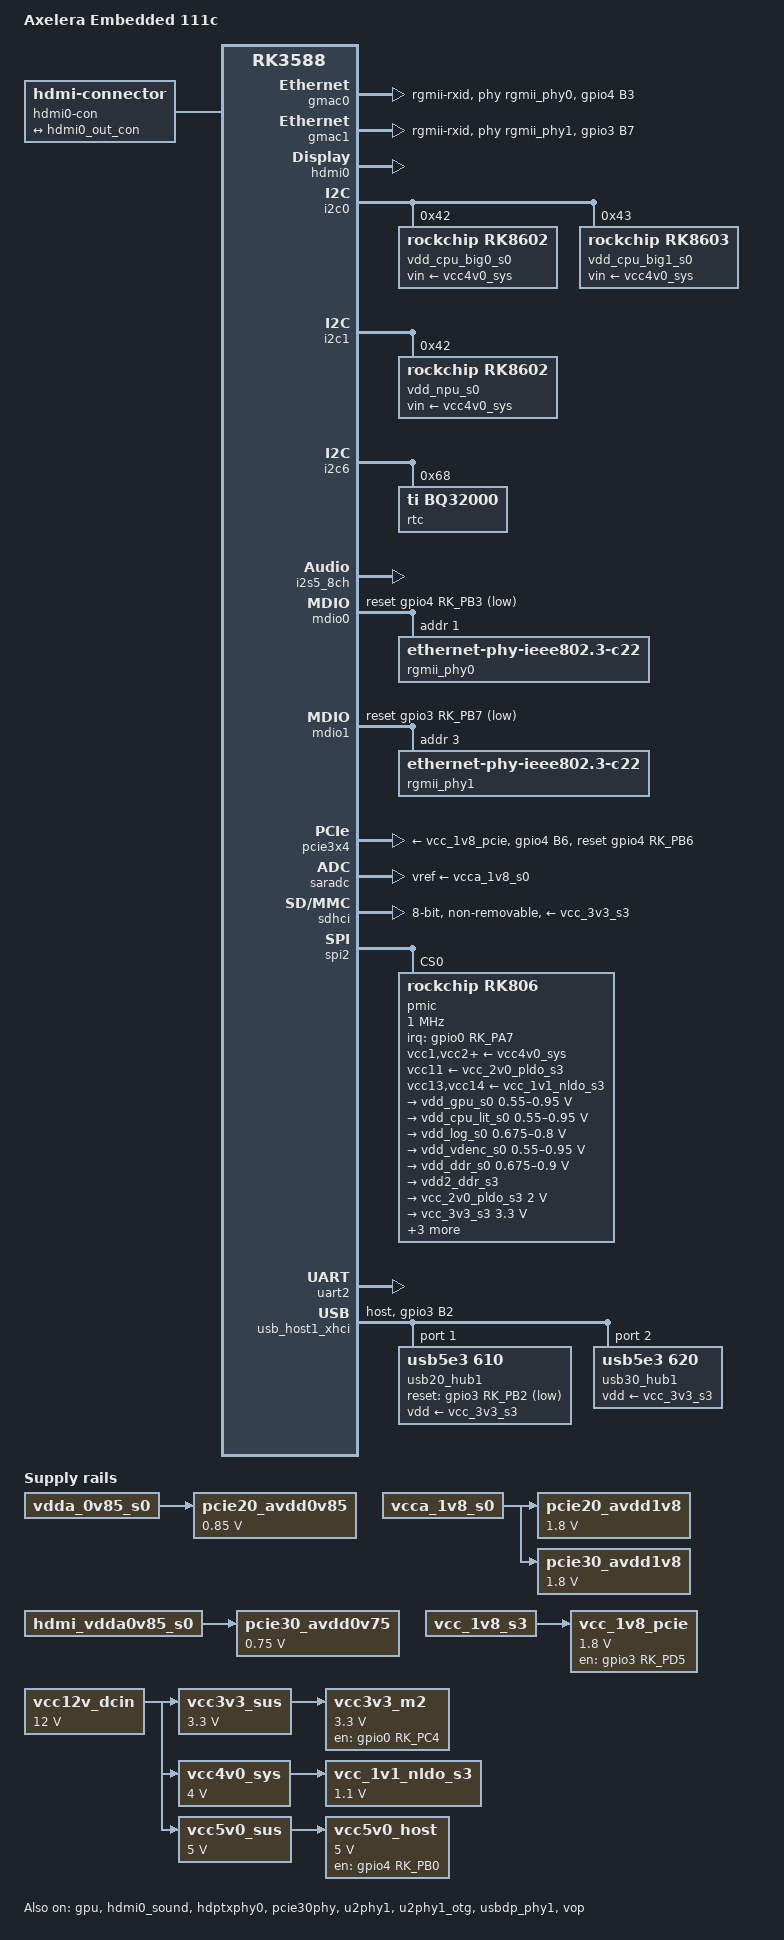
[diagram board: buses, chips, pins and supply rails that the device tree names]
// SPDX-License-Identifier: (GPL-2.0+ OR MIT)
/*
 * Copyright (c) 2026 Amarula Solutions
 */

/dts-v1/;

#include <dt-bindings/gpio/gpio.h>
#include <dt-bindings/pinctrl/rockchip.h>
#include <dt-bindings/soc/rockchip,vop2.h>
#include "rk3588.dtsi"

/ {
	model = "Axelera Embedded 111c";
	compatible = "axelera,embedded-111c", "rockchip,rk3588";

	aliases {
		ethernet0 = &gmac0;
		ethernet1 = &gmac1;
		mmc0 = &sdhci;
	};

	chosen {
		stdout-path = "serial2:1500000n8";
	};

	hdmi0-con {
		compatible = "hdmi-connector";
		type = "a";

		port {
			hdmi0_con_in: endpoint {
				remote-endpoint = <&hdmi0_out_con>;
			};
		};
	};

	pcie20_avdd0v85: regulator-pcie20-avdd0v85 {
		compatible = "regulator-fixed";
		regulator-always-on;
		regulator-boot-on;
		regulator-min-microvolt = <850000>;
		regulator-max-microvolt = <850000>;
		regulator-name = "pcie20_avdd0v85";
		vin-supply = <&vdda_0v85_s0>;
	};

	pcie20_avdd1v8: regulator-pcie20-avdd1v8 {
		compatible = "regulator-fixed";
		regulator-always-on;
		regulator-boot-on;
		regulator-min-microvolt = <1800000>;
		regulator-max-microvolt = <1800000>;
		regulator-name = "pcie20_avdd1v8";
		vin-supply = <&vcca_1v8_s0>;
	};

	pcie30_avdd0v75: regulator-pcie30-avdd0v75 {
		compatible = "regulator-fixed";
		regulator-always-on;
		regulator-boot-on;
		regulator-min-microvolt = <750000>;
		regulator-max-microvolt = <750000>;
		regulator-name = "pcie30_avdd0v75";
		vin-supply = <&hdmi_vdda0v85_s0>;
	};

	pcie30_avdd1v8: regulator-pcie30-avdd1v8 {
		compatible = "regulator-fixed";
		regulator-always-on;
		regulator-boot-on;
		regulator-min-microvolt = <1800000>;
		regulator-max-microvolt = <1800000>;
		regulator-name = "pcie30_avdd1v8";
		vin-supply = <&vcca_1v8_s0>;
	};

	vcc_1v1_nldo_s3: regulator-vcc-1v1-nldo-s3 {
		compatible = "regulator-fixed";
		regulator-always-on;
		regulator-boot-on;
		regulator-min-microvolt = <1100000>;
		regulator-max-microvolt = <1100000>;
		regulator-name = "vcc_1v1_nldo_s3";
		vin-supply = <&vcc4v0_sys>;
	};

	vcc_1v8_pcie: regulator-vcc-1v8-pcie {
		compatible = "regulator-fixed";
		enable-active-high;
		gpio = <&gpio3 RK_PD5 GPIO_ACTIVE_HIGH>; /* PCIE30_PWREN_H */
		pinctrl-0 = <&pcie30_pwren_h>;
		pinctrl-names = "default";
		regulator-always-on;
		regulator-min-microvolt = <1800000>;
		regulator-max-microvolt = <1800000>;
		regulator-name = "vcc_1v8_pcie";
		startup-delay-us = <50000>;
		vin-supply = <&vcc_1v8_s3>;
	};

	vcc12v_dcin: regulator-vcc12v-dcin {
		compatible = "regulator-fixed";
		regulator-always-on;
		regulator-boot-on;
		regulator-min-microvolt = <12000000>;
		regulator-max-microvolt = <12000000>;
		regulator-name = "12vsus";
	};

	vcc3v3_m2: regulator-vcc3v3-m2 {
		compatible = "regulator-fixed";
		enable-active-high;
		gpio = <&gpio0 RK_PC4 GPIO_ACTIVE_HIGH>; /* PCIE_PWREN_H */
		pinctrl-0 = <&pcie_pwren_h>;
		pinctrl-names = "default";
		regulator-always-on;
		regulator-boot-on;
		regulator-min-microvolt = <3300000>;
		regulator-max-microvolt = <3300000>;
		regulator-name = "3v_m2";
		vin-supply = <&vcc3v3_sus>;
	};

	vcc3v3_sus: regulator-vcc3v3-sus {
		compatible = "regulator-fixed";
		regulator-always-on;
		regulator-boot-on;
		regulator-min-microvolt = <3300000>;
		regulator-max-microvolt = <3300000>;
		regulator-name = "3vsus";
		vin-supply = <&vcc12v_dcin>;
	};

	vcc4v0_sys: regulator-vcc4v0-sys {
		compatible = "regulator-fixed";
		regulator-always-on;
		regulator-boot-on;
		regulator-min-microvolt = <4000000>;
		regulator-max-microvolt = <4000000>;
		regulator-name = "vcc4v0_sys";
		vin-supply = <&vcc12v_dcin>;
	};

	vcc5v0_host: regulator-vcc5v0-host {
		compatible = "regulator-fixed";
		enable-active-high;
		gpio = <&gpio4 RK_PB0 GPIO_ACTIVE_HIGH>; /* USB_HOST_PWREN */
		pinctrl-0 = <&usb_host_pwren>;
		pinctrl-names = "default";
		regulator-always-on;
		regulator-boot-on;
		regulator-min-microvolt = <5000000>;
		regulator-max-microvolt = <5000000>;
		regulator-name = "vcc5v0_host";
		vin-supply = <&vcc5v0_sus>;
	};

	vcc5v0_sus: regulator-vcc5v0-sus {
		compatible = "regulator-fixed";
		regulator-always-on;
		regulator-boot-on;
		regulator-min-microvolt = <5000000>;
		regulator-max-microvolt = <5000000>;
		regulator-name = "5vsus";
		vin-supply = <&vcc12v_dcin>;
	};
};

&cpu_b0 {
	cpu-supply = <&vdd_cpu_big0_s0>;
};

&cpu_b1 {
	cpu-supply = <&vdd_cpu_big0_s0>;
};

&cpu_b2 {
	cpu-supply = <&vdd_cpu_big1_s0>;
};

&cpu_b3 {
	cpu-supply = <&vdd_cpu_big1_s0>;
};

&cpu_l0 {
	cpu-supply = <&vdd_cpu_lit_s0>;
};

&cpu_l1 {
	cpu-supply = <&vdd_cpu_lit_s0>;
};

&cpu_l2 {
	cpu-supply = <&vdd_cpu_lit_s0>;
};

&cpu_l3 {
	cpu-supply = <&vdd_cpu_lit_s0>;
};

&gmac0 {
	clock_in_out = "output";
	phy-handle = <&rgmii_phy0>;
	/* RX delay is added by the PHY, TX delay by the GMAC */
	phy-mode = "rgmii-rxid";
	pinctrl-0 = <&gmac0_miim
		     &gmac0_tx_bus2
		     &gmac0_rx_bus2
		     &gmac0_rgmii_clk
		     &gmac0_rgmii_bus
		     &gmac0_rst_n>;
	pinctrl-names = "default";
	tx_delay = <0x44>;
	status = "okay";
};

&gmac1 {
	clock_in_out = "output";
	phy-handle = <&rgmii_phy1>;
	/* RX delay is added by the PHY, TX delay by the GMAC */
	phy-mode = "rgmii-rxid";
	pinctrl-0 = <&gmac1_miim
		     &gmac1_tx_bus2
		     &gmac1_rx_bus2
		     &gmac1_rgmii_clk
		     &gmac1_rgmii_bus
		     &gmac1_rst_n>;
	pinctrl-names = "default";
	tx_delay = <0x43>;
	status = "okay";
};

&gpu {
	mali-supply = <&vdd_gpu_s0>;
	status = "okay";
};

&hdmi0 {
	pinctrl-0 = <&hdmim0_tx0_cec
		     &hdmim1_tx0_hpd
		     &hdmim0_tx0_scl
		     &hdmim0_tx0_sda>;
	pinctrl-names = "default";
	status = "okay";
};

&hdmi0_in {
	hdmi0_in_vp0: endpoint {
		remote-endpoint = <&vp0_out_hdmi0>;
	};
};

&hdmi0_out {
	hdmi0_out_con: endpoint {
		remote-endpoint = <&hdmi0_con_in>;
	};
};

&hdmi0_sound {
	status = "okay";
};

&hdptxphy0 {
	status = "okay";
};

&i2c0 {
	pinctrl-0 = <&i2c0m2_xfer>;
	pinctrl-names = "default";
	status = "okay";

	vdd_cpu_big0_s0: regulator@42 {
		compatible = "rockchip,rk8602";
		reg = <0x42>;
		regulator-always-on;
		regulator-boot-on;
		regulator-min-microvolt = <550000>;
		regulator-max-microvolt = <1050000>;
		regulator-name = "vdd_cpu_big0_s0";
		regulator-ramp-delay = <2300>;
		vin-supply = <&vcc4v0_sys>;
		fcs,suspend-voltage-selector = <1>;

		regulator-state-mem {
			regulator-off-in-suspend;
		};
	};

	vdd_cpu_big1_s0: regulator@43 {
		compatible = "rockchip,rk8603", "rockchip,rk8602";
		reg = <0x43>;
		regulator-always-on;
		regulator-boot-on;
		regulator-min-microvolt = <550000>;
		regulator-max-microvolt = <1050000>;
		regulator-name = "vdd_cpu_big1_s0";
		regulator-ramp-delay = <2300>;
		vin-supply = <&vcc4v0_sys>;
		fcs,suspend-voltage-selector = <1>;

		regulator-state-mem {
			regulator-off-in-suspend;
		};
	};
};

&i2c1 {
	pinctrl-0 = <&i2c1m2_xfer>;
	pinctrl-names = "default";
	status = "okay";

	vdd_npu_s0: vdd_npu_mem_s0: regulator@42 {
		compatible = "rockchip,rk8602";
		reg = <0x42>;
		regulator-always-on;
		regulator-boot-on;
		regulator-min-microvolt = <550000>;
		regulator-max-microvolt = <950000>;
		regulator-name = "vdd_npu_s0";
		regulator-ramp-delay = <2300>;
		vin-supply = <&vcc4v0_sys>;
		fcs,suspend-voltage-selector = <1>;

		regulator-state-mem {
			regulator-off-in-suspend;
		};
	};
};

&i2c6 {
	status = "okay";

	rtc@68 {
		compatible = "ti,bq32000";
		reg = <0x68>;
	};
};

&i2s5_8ch {
	status = "okay";
};

&mdio0 {
	reset-gpios = <&gpio4 RK_PB3 GPIO_ACTIVE_LOW>; /* GMAC0_RST_N */
	reset-delay-us = <20000>;
	reset-post-delay-us = <100000>;

	rgmii_phy0: phy@1 {
		compatible = "ethernet-phy-ieee802.3-c22";
		reg = <0x1>;
	};
};

&mdio1 {
	reset-gpios = <&gpio3 RK_PB7 GPIO_ACTIVE_LOW>; /* GMAC1_RST_N */
	reset-delay-us = <20000>;
	reset-post-delay-us = <100000>;

	rgmii_phy1: phy@3 {
		compatible = "ethernet-phy-ieee802.3-c22";
		reg = <0x3>;
	};
};

&pcie30phy {
	status = "okay";
};

&pcie3x4 {
	pinctrl-0 = <&pciex4_perst_n>;
	pinctrl-names = "default";
	reset-gpios = <&gpio4 RK_PB6 GPIO_ACTIVE_HIGH>; /* PCIEX4_PERST_N */
	/*
	 * Add specific mapping required by the onboard
	 * Axelera Metis AIPU to function.
	 */
	ranges = <0x81000000 0x0 0xf0100000 0x0 0xf0100000 0x0 0x100000
		  0x82000000 0x0 0x40000000 0x9 0x00000000 0x0 0x20000000
		  0xc3000000 0x0 0x60000000 0x9 0x20000000 0x0 0x20000000>;
	/*
	 * Set to 1v8 because the electronics on the pcie3x4 slot
	 * do not receive 3v3 supply at all, but vpcie3v3-supply
	 * must be specified.
	 */
	vpcie3v3-supply = <&vcc_1v8_pcie>;
	status = "okay";
};

&pinctrl {
	gmac0 {
		gmac0_rst_n: gmac0-rst-n {
			rockchip,pins = <4 RK_PB3 RK_FUNC_GPIO &pcfg_pull_up>;
		};
	};

	gmac1 {
		gmac1_rst_n: gmac1-rst-n {
			rockchip,pins = <3 RK_PB7 RK_FUNC_GPIO &pcfg_pull_up>;
		};
	};

	pci {
		pcie_pwren_h: pcie-pwren-h {
			rockchip,pins = <0 RK_PC4 RK_FUNC_GPIO &pcfg_pull_none>;
		};

		pcie30_pwren_h: pcie30-pwren-h {
			rockchip,pins = <3 RK_PD5 RK_FUNC_GPIO &pcfg_pull_none>;
		};

		pciex4_perst_n: pciex4-perst-n { /* pcie3x4 reset */
			rockchip,pins = <4 RK_PB6 RK_FUNC_GPIO &pcfg_pull_none>;
		};
	};

	usb {
		usb_host_pwren: usb-host-pwren {
			rockchip,pins = <4 RK_PB0 RK_FUNC_GPIO &pcfg_pull_none>;
		};

		usb_hub_rst_n: usb-hub-rst-n {
			rockchip,pins = <3 RK_PB2 RK_FUNC_GPIO &pcfg_pull_none>;
		};
	};
};

&saradc {
	vref-supply = <&vcca_1v8_s0>;
	status = "okay";
};

/* eMMC */
&sdhci {
	bus-width = <8>;
	max-frequency = <200000000>;
	mmc-hs400-1_8v;
	mmc-hs400-enhanced-strobe;
	no-sd;
	no-sdio;
	non-removable;
	vmmc-supply = <&vcc_3v3_s3>;
	vqmmc-supply = <&vcc_1v8_s3>;
	status = "okay";
};

&spi2 {
	assigned-clock-rates = <200000000>;
	assigned-clocks = <&cru CLK_SPI2>;
	num-cs = <1>;
	pinctrl-0 = <&spi2m2_cs0 &spi2m2_pins>;
	pinctrl-names = "default";
	status = "okay";

	pmic@0 {
		compatible = "rockchip,rk806";
		reg = <0x0>;
		interrupt-parent = <&gpio0>;
		interrupts = <RK_PA7 IRQ_TYPE_LEVEL_LOW>; /* PMIC_INT_L */
		pinctrl-0 = <&pmic_pins>;
		pinctrl-names = "default";
		spi-max-frequency = <1000000>;
		system-power-controller;
		vcc1-supply = <&vcc4v0_sys>;
		vcc2-supply = <&vcc4v0_sys>;
		vcc3-supply = <&vcc4v0_sys>;
		vcc4-supply = <&vcc4v0_sys>;
		vcc5-supply = <&vcc4v0_sys>;
		vcc6-supply = <&vcc4v0_sys>;
		vcc7-supply = <&vcc4v0_sys>;
		vcc8-supply = <&vcc4v0_sys>;
		vcc9-supply = <&vcc4v0_sys>;
		vcc10-supply = <&vcc4v0_sys>;
		vcc11-supply = <&vcc_2v0_pldo_s3>;
		vcc12-supply = <&vcc4v0_sys>;
		vcc13-supply = <&vcc_1v1_nldo_s3>;
		vcc14-supply = <&vcc_1v1_nldo_s3>;
		vcca-supply = <&vcc4v0_sys>;

		regulators {
			vdd_gpu_s0: vdd_gpu_mem_s0: dcdc-reg1 {
				regulator-boot-on;
				regulator-enable-ramp-delay = <400>;
				regulator-min-microvolt = <550000>;
				regulator-max-microvolt = <950000>;
				regulator-name = "vdd_gpu_s0";
				regulator-ramp-delay = <12500>;

				regulator-state-mem {
					regulator-off-in-suspend;
				};
			};

			vdd_cpu_lit_s0: vdd_cpu_lit_mem_s0: dcdc-reg2 {
				regulator-always-on;
				regulator-boot-on;
				regulator-min-microvolt = <550000>;
				regulator-max-microvolt = <950000>;
				regulator-name = "vdd_cpu_lit_s0";
				regulator-ramp-delay = <12500>;

				regulator-state-mem {
					regulator-off-in-suspend;
				};
			};

			vdd_log_s0: dcdc-reg3 {
				regulator-always-on;
				regulator-boot-on;
				regulator-min-microvolt = <675000>;
				regulator-max-microvolt = <800000>;
				regulator-name = "vdd_log_s0";
				regulator-ramp-delay = <12500>;

				regulator-state-mem {
					regulator-off-in-suspend;
				};
			};

			vdd_vdenc_s0: vdd_vdenc_mem_s0: dcdc-reg4 {
				regulator-always-on;
				regulator-boot-on;
				regulator-min-microvolt = <550000>;
				regulator-max-microvolt = <950000>;
				regulator-name = "vdd_vdenc_s0";
				regulator-ramp-delay = <12500>;

				regulator-state-mem {
					regulator-off-in-suspend;
				};
			};

			vdd_ddr_s0: dcdc-reg5 {
				regulator-always-on;
				regulator-boot-on;
				regulator-min-microvolt = <675000>;
				regulator-max-microvolt = <900000>;
				regulator-name = "vdd_ddr_s0";
				regulator-ramp-delay = <12500>;

				regulator-state-mem {
					regulator-off-in-suspend;
				};
			};

			vdd2_ddr_s3: dcdc-reg6 {
				regulator-always-on;
				regulator-boot-on;
				regulator-name = "vdd2_ddr_s3";

				regulator-state-mem {
					regulator-on-in-suspend;
				};
			};

			vcc_2v0_pldo_s3: dcdc-reg7 {
				regulator-always-on;
				regulator-boot-on;
				regulator-min-microvolt = <2000000>;
				regulator-max-microvolt = <2000000>;
				regulator-name = "vdd_2v0_pldo_s3";

				regulator-state-mem {
					regulator-on-in-suspend;
				};
			};

			vcc_3v3_s3: dcdc-reg8 {
				regulator-always-on;
				regulator-boot-on;
				regulator-min-microvolt = <3300000>;
				regulator-max-microvolt = <3300000>;
				regulator-name = "vcc_3v3_s3";

				regulator-state-mem {
					regulator-on-in-suspend;
				};
			};

			vddq_ddr_s0: dcdc-reg9 {
				regulator-always-on;
				regulator-boot-on;
				regulator-name = "vddq_ddr_s0";

				regulator-state-mem {
					regulator-off-in-suspend;
				};
			};

			vcc_1v8_s3: dcdc-reg10 {
				regulator-always-on;
				regulator-boot-on;
				regulator-min-microvolt = <1800000>;
				regulator-max-microvolt = <1800000>;
				regulator-name = "vcc_1v8_s3";

				regulator-state-mem {
					regulator-on-in-suspend;
				};
			};

			vcca_1v8_s0: pldo-reg1 {
				regulator-always-on;
				regulator-boot-on;
				regulator-min-microvolt = <1800000>;
				regulator-max-microvolt = <1800000>;
				regulator-name = "vcca_1v8_s0";

				regulator-state-mem {
					regulator-off-in-suspend;
				};
			};

			vcc_1v8_s0: pldo-reg2 {
				regulator-always-on;
				regulator-boot-on;
				regulator-min-microvolt = <1800000>;
				regulator-max-microvolt = <1800000>;
				regulator-name = "vcc_1v8_s0";

				regulator-state-mem {
					regulator-off-in-suspend;
				};
			};

			vdda_1v2_s0: pldo-reg3 {
				regulator-always-on;
				regulator-boot-on;
				regulator-min-microvolt = <1200000>;
				regulator-max-microvolt = <1200000>;
				regulator-name = "vdda_1v2_s0";

				regulator-state-mem {
					regulator-off-in-suspend;
				};
			};

			vcca_3v3_s0: pldo-reg4 {
				regulator-always-on;
				regulator-boot-on;
				regulator-min-microvolt = <3300000>;
				regulator-max-microvolt = <3300000>;
				regulator-name = "vcca_3v3_s0";

				regulator-state-mem {
					regulator-off-in-suspend;
				};
			};

			vccio_sd_s0: pldo-reg5 {
				regulator-always-on;
				regulator-boot-on;
				regulator-min-microvolt = <1800000>;
				regulator-max-microvolt = <3300000>;
				regulator-name = "vccio_sd_s0";

				regulator-state-mem {
					regulator-off-in-suspend;
				};
			};

			vcca1v8_pldo6_s3: pldo-reg6 {
				regulator-always-on;
				regulator-boot-on;
				regulator-min-microvolt = <1800000>;
				regulator-max-microvolt = <1800000>;
				regulator-name = "vcca1v8_pldo6_s3";

				regulator-state-mem {
					regulator-on-in-suspend;
				};
			};

			vdd_0v75_s3: nldo-reg1 {
				regulator-always-on;
				regulator-boot-on;
				regulator-min-microvolt = <750000>;
				regulator-max-microvolt = <750000>;
				regulator-name = "vdd_0v75_s3";

				regulator-state-mem {
					regulator-on-in-suspend;
				};
			};

			vdda_ddr_pll_s0: nldo-reg2 {
				regulator-always-on;
				regulator-boot-on;
				regulator-min-microvolt = <850000>;
				regulator-max-microvolt = <850000>;
				regulator-name = "vdda_ddr_pll_s0";

				regulator-state-mem {
					regulator-off-in-suspend;
				};
			};

			hdmi_vdda0v85_s0: nldo-reg3 {
				regulator-always-on;
				regulator-boot-on;
				regulator-min-microvolt = <837500>;
				regulator-max-microvolt = <837500>;
				regulator-name = "hdmi_vdda0v85_s0";

				regulator-state-mem {
					regulator-off-in-suspend;
				};
			};

			vdda_0v85_s0: nldo-reg4 {
				regulator-always-on;
				regulator-boot-on;
				regulator-min-microvolt = <850000>;
				regulator-max-microvolt = <850000>;
				regulator-name = "vdda_0v85_s0";

				regulator-state-mem {
					regulator-off-in-suspend;
				};
			};

			vdd_0v75_s0: nldo-reg5 {
				regulator-always-on;
				regulator-boot-on;
				regulator-min-microvolt = <750000>;
				regulator-max-microvolt = <750000>;
				regulator-name = "vdd_0v75_s0";

				regulator-state-mem {
					regulator-off-in-suspend;
				};
			};
		};
	};
};

&u2phy1 {
	status = "okay";
};

&u2phy1_otg {
	phy-supply = <&vcc5v0_host>;
	status = "okay";
};

&uart2 {
	pinctrl-0 = <&uart2m0_xfer>;
	status = "okay";
};

&usb_host1_xhci {
	dr_mode = "host";
	pinctrl-0 = <&usb_hub_rst_n>;
	pinctrl-names = "default";
	#address-cells = <1>;
	#size-cells = <0>;
	status = "okay";

	usb20_hub1: hub@1 {
		compatible = "usb5e3,610";
		reg = <1>;
		peer-hub = <&usb30_hub1>;
		reset-gpios = <&gpio3 RK_PB2 GPIO_ACTIVE_LOW>; /* USB_HUB_RST_N */
		vdd-supply = <&vcc_3v3_s3>;
		#address-cells = <1>;
		#size-cells = <0>;

		usb20_hub2: hub@4 {
			compatible = "usb5e3,610";
			reg = <4>;
			peer-hub = <&usb30_hub2>;
			vdd-supply = <&vcc_3v3_s3>;
		};
	};

	usb30_hub1: hub@2 {
		compatible = "usb5e3,620";
		reg = <2>;
		peer-hub = <&usb20_hub1>;
		vdd-supply = <&vcc_3v3_s3>;
		#address-cells = <1>;
		#size-cells = <0>;

		usb30_hub2: hub@4 {
			compatible = "usb5e3,620";
			reg = <4>;
			peer-hub = <&usb20_hub2>;
			vdd-supply = <&vcc_3v3_s3>;
		};
	};
};

&usbdp_phy1 {
	status = "okay";
};

&vop {
	status = "okay";
};

&vop_mmu {
	status = "okay";
};

&vp0 {
	vp0_out_hdmi0: endpoint@ROCKCHIP_VOP2_EP_HDMI0 {
		reg = <ROCKCHIP_VOP2_EP_HDMI0>;
		remote-endpoint = <&hdmi0_in_vp0>;
	};
};
